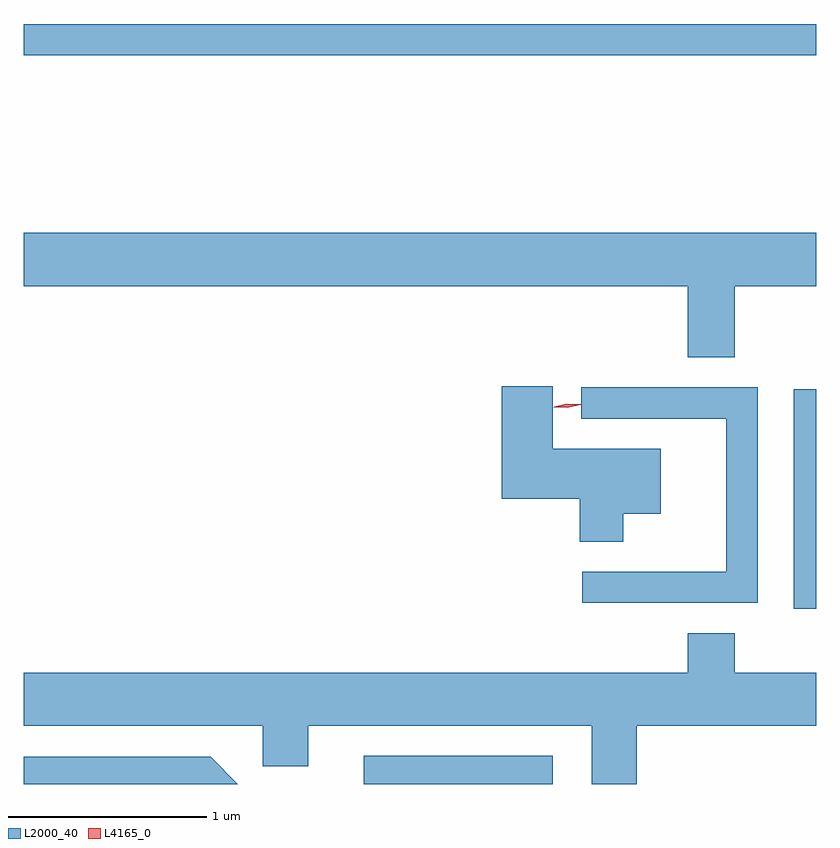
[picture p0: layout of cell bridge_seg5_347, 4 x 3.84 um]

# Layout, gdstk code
import gdstk
lib = gdstk.Library(unit=1e-6, precision=1e-09)
def R(c, l, rs):  # rectangles x0, y0, x1, y1
    for r in rs: c.add(gdstk.rectangle(r[:2], r[2:], *l))
def P(c, l, *ps):  # polygons
    for p in ps: c.add(gdstk.Polygon(p, *l))
L2000_40 = (2000, 40)
L4165_0 = (4165, 0)

bridge_seg5_347 = lib.new_cell('bridge_seg5_347')
R(bridge_seg5_347, L2000_40, [(931.631,1392.122,932.584,1392.264), (933.801,1393.006,933.914,1394.114), (929.914,1395.801,933.914,1395.959)])
P(bridge_seg5_347, L2000_40, [(933.504,1394.636),(933.914,1394.636),(933.914,1394.904),(929.914,1394.904),(929.914,1394.636),(933.266,1394.636),(933.266,1394.276),(933.504,1394.276)],
  [(932.939,1393.486),(933.129,1393.486),(933.129,1393.814),(932.584,1393.814),(932.584,1394.129),(932.326,1394.129),(932.326,1393.561),(932.721,1393.561),(932.721,1393.346),(932.939,1393.346)],
  [(933.619,1394.124),(932.728,1394.124),(932.728,1393.966),(933.461,1393.966),(933.461,1393.194),(932.733,1393.194),(932.733,1393.036),(933.619,1393.036)],
  [(933.009,1392.416),(933.914,1392.416),(933.914,1392.684),(933.504,1392.684),(933.504,1392.884),(933.266,1392.884),(933.266,1392.684),(929.914,1392.684),(929.914,1392.416),(931.121,1392.416),(931.121,1392.211),(931.349,1392.211),(931.349,1392.416),(932.781,1392.416),(932.781,1392.122),(933.009,1392.122)],
  [(930.857,1392.259),(929.914,1392.259),(929.914,1392.122),(930.994,1392.122)])
P(bridge_seg5_347, L4165_0, [(932.658,1394.023),(932.591,1394.026),(932.591,1394.027),(932.591,1394.027),(932.656,1394.043),(932.722,1394.04),(932.723,1394.04),(932.722,1394.039)],
  [(932.658,1394.021),(932.589,1394.024),(932.588,1394.024),(932.589,1394.025),(932.656,1394.041),(932.726,1394.038),(932.726,1394.038),(932.726,1394.037)])

lib.write_gds('bridge_seg5_347.gds')
